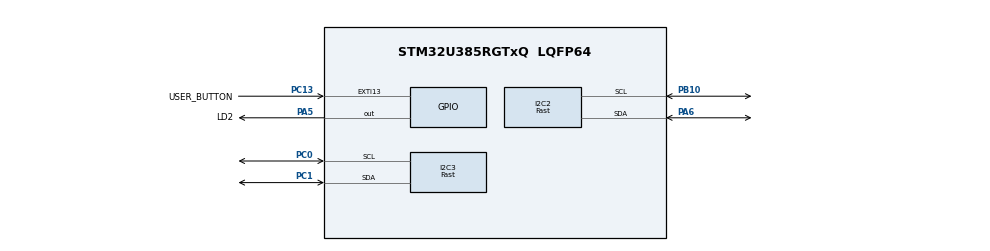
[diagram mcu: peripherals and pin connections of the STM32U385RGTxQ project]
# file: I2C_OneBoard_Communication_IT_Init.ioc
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CORTEX_M33_NS.userName=CORTEX_M33
I2C2.I2C_Fall_Time=10
I2C2.I2C_Rise_Time=100
I2C2.I2C_Speed_Mode=I2C_Fast
I2C2.OwnAddress=SLAVE_OWN_ADDRESS
I2C2.Timing=0x10901B4F
I2C3.I2C_Fall_Time=10
I2C3.I2C_Rise_Time=100
I2C3.I2C_Speed_Mode=I2C_Fast
I2C3.Timing=0x10901B4F
Mcu.Family=STM32U3
Mcu.Name=STM32U385RGTxQ
Mcu.Package=LQFP64
Mcu.UserConstants=SLAVE_OWN_ADDRESS,180
NVIC.EXTI13_IRQn=true\:0\:0\:false\:false\:true\:true\:true\:true
NVIC.PriorityGroup=NVIC_PRIORITYGROUP_4
PA5.GPIO_Label=LD2
PA5.Signal=GPIO_Output
PA6.GPIO_Pu=GPIO_PULLUP
PA6.GPIO_Speed=GPIO_SPEED_FREQ_HIGH
PA6.Mode=I2C
PA6.Signal=I2C2_SDA
PB10.GPIO_Pu=GPIO_PULLUP
PB10.GPIO_Speed=GPIO_SPEED_FREQ_HIGH
PB10.Mode=I2C
PB10.Signal=I2C2_SCL
PC0.GPIO_Pu=GPIO_PULLUP
PC0.GPIO_Speed=GPIO_SPEED_FREQ_HIGH
PC0.Mode=I2C
PC0.Signal=I2C3_SCL
PC1.GPIO_Pu=GPIO_PULLUP
PC1.GPIO_Speed=GPIO_SPEED_FREQ_HIGH
PC1.Mode=I2C
PC1.Signal=I2C3_SDA
PC13.GPIO_Label=USER_BUTTON
PC13.GPIO_PuPd=GPIO_PULLDOWN
PC13.Signal=GPXTI13
ProjectManager.HeapSize=0x200
ProjectManager.StackSize=0x400
ProjectManager.TargetToolchain=EWARM V9.20
RCC.ADCFreq_Value=96000000
RCC.AHBFreq_Value=96000000
RCC.APB1Freq_Value=96000000
RCC.APB1TimFreq_Value=96000000
RCC.APB2Freq_Value=96000000
RCC.APB2TimFreq_Value=96000000
RCC.APB3Freq_Value=96000000
RCC.CortexFreq_Value=12000000
RCC.HCLKFreq_Value=96000000
RCC.HSE_VALUE=16000000
RCC.HSI48_VALUE=48000000
RCC.HSI_VALUE=16000000
RCC.LSE_VALUE=32768
RCC.LSIDIV_VALUE=32000
RCC.MSISDIV=RCC_MSI_DIV1
RCC.SYSCLKFreq_VALUE=96000000
RCC.USBFreq_Value=96000000
VP_ICACHE_VS_ICACHE.Mode=DirectMappedCache
VP_PWR_VS_DBSignals.Mode=DisableDeadBatterySignals
VP_PWR_VS_LPOM.Mode=PowerOptimisation
VP_PWR_VS_SECSignals.Mode=Security/Privilege
board=custom

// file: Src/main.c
/* USER CODE BEGIN Header */
/**
  ******************************************************************************
  * @file    Examples_LL/I2C/I2C_OneBoard_Communication_IT_Init/Src/main.c
  * @author  MCD Application Team
  * @brief   This example describes how to send/receive bytes over I2C IP using
  *          the STM32U3xx I2C LL API.
  *          Peripheral initialization done using LL initialization function.
  ******************************************************************************
  * @attention
  *
  * Copyright (c) 2024 STMicroelectronics.
  * All rights reserved.
  *
  * This software is licensed under terms that can be found in the LICENSE file
  * in the root directory of this software component.
  * If no LICENSE file comes with this software, it is provided AS-IS.
  *
  ******************************************************************************
  */
/* USER CODE END Header */
#include "main.h"

/* USER CODE BEGIN PTD */
LL_I2C_InitTypeDef i2c_initstruct;
/* USER CODE END PTD */

/* USER CODE BEGIN PD */
/**
  * @brief I2C devices settings
  */

/**
  * @brief Define related to SlaveTransmit process
  */
#define SLAVE_BYTE_TO_SEND       (uint8_t)0xA5

/* USER CODE END PD */

/* USER CODE BEGIN PV */
__IO uint8_t ubButtonPress       = 0;

/**
  * @brief Variables related to MasterReceive process
  */
uint8_t      aReceiveBuffer[0xF] = {0};
__IO uint8_t ubReceiveIndex      = 0;

/* USER CODE END PV */

void SystemClock_Config(void);
static void MX_GPIO_Init(void);
static void MX_I2C3_Init(void);
static void MX_ICACHE_Init(void);
static void MX_I2C2_Init(void);
/* USER CODE BEGIN PFP */
void     LED_On(void);
void     LED_Off(void);
void     LED_Blinking(uint32_t Period);
void     WaitForUserButtonPress(void);
void     Handle_I2C_Master(void);

/* USER CODE END PFP */

int main(void)
{

  /* MCU Configuration--------------------------------------------------------*/

  /* Reset of all peripherals, Initializes the Flash interface and the Systick. */

  /* System interrupt init*/
  NVIC_SetPriorityGrouping(NVIC_PRIORITYGROUP_4);

  /* SysTick_IRQn interrupt configuration */
  NVIC_SetPriority(SysTick_IRQn, NVIC_EncodePriority(NVIC_GetPriorityGrouping(),15, 0));

  /* Configure the system clock */
  SystemClock_Config();

  /* Initialize all configured peripherals */
  MX_GPIO_Init();
  MX_I2C3_Init();
  MX_ICACHE_Init();
  MX_I2C2_Init();
  /* USER CODE BEGIN 2 */
  /* Set LD2 Off */
  LED_Off();

  /* Wait for User push-button press to start transfer */
  WaitForUserButtonPress();

  /* Handle I2C3 events (Master) */
  Handle_I2C_Master();
  /* USER CODE END 2 */

  /* Infinite loop */
  while (1)
  {

  }
}

void SystemClock_Config(void)
{
  /** Enable Epod Booster
  */
  LL_AHB1_GRP2_EnableClock(LL_AHB1_GRP2_PERIPH_PWR);
  LL_RCC_SetEPODBoosterClkSource(LL_RCC_EPODBOOSTCLKSRCE_MSIS);
  LL_RCC_SetEPODBoosterClkPrescaler(LL_RCC_EPODBOOSTCLKPRESCAL_1);
  LL_PWR_EnableEPODBooster();
  while(LL_PWR_IsActiveFlag_BOOST() != 1U)
  {
  }

  /** Configure the main internal regulator output voltage
  */
  LL_PWR_SetRegulVoltageScaling(LL_PWR_REGU_VOLTAGE_SCALE1);
  while(LL_PWR_GetRegulCurrentVOS() != LL_PWR_REGU_VOLTAGE_SCALE1)
  {
  }

  /** Set Flash latency before switching to MSIS
  */
  LL_FLASH_SetLatency(LL_FLASH_LATENCY_2);
  while(LL_FLASH_GetLatency() != LL_FLASH_LATENCY_2)
  {
  }

  /** Activate MSIS as source
  */
  LL_RCC_MSIS_SetClockSource(LL_RCC_MSIS_CLOCK_SOURCE_RC0);
  LL_RCC_MSIS_SetClockDivision(LL_RCC_MSIS_CLOCK_SOURCE_RC_DIV_1);
  LL_RCC_MSI_SetMSIxClockRange();
  LL_RCC_SetSysClkSource(LL_RCC_SYS_CLKSOURCE_MSIS);

  /** Wait till System clock is ready
  */
  while(LL_RCC_GetSysClkSource() != LL_RCC_SYS_CLKSOURCE_MSIS)
  {
  }

  LL_RCC_SetAHBPrescaler(LL_RCC_HCLK_SYSCLK_DIV_1);
  LL_RCC_SetAPB1Prescaler(LL_RCC_APB1_HCLK_DIV_1);
  LL_RCC_SetAPB2Prescaler(LL_RCC_APB2_HCLK_DIV_1);
  LL_RCC_SetAPB3Prescaler(LL_RCC_APB3_HCLK_DIV_1);

  LL_Init1msTick(96000000);

  LL_SetSystemCoreClock(96000000);
}

static void MX_I2C2_Init(void)
{

  LL_I2C_InitTypeDef I2C_InitStruct = {0};

  LL_GPIO_InitTypeDef GPIO_InitStruct = {0};

  LL_RCC_SetI2CClockSource(LL_RCC_I2C2_CLKSOURCE_PCLK1);

  LL_AHB2_GRP1_EnableClock(LL_AHB2_GRP1_PERIPH_GPIOA);
  LL_AHB2_GRP1_EnableClock(LL_AHB2_GRP1_PERIPH_GPIOB);
  /**I2C2 GPIO Configuration
  PA6   ------> I2C2_SDA
  PB10   ------> I2C2_SCL
  */
  GPIO_InitStruct.Pin = LL_GPIO_PIN_6;
  GPIO_InitStruct.Mode = LL_GPIO_MODE_ALTERNATE;
  GPIO_InitStruct.Speed = LL_GPIO_SPEED_FREQ_HIGH;
  GPIO_InitStruct.OutputType = LL_GPIO_OUTPUT_OPENDRAIN;
  GPIO_InitStruct.Pull = LL_GPIO_PULL_UP;
  GPIO_InitStruct.Alternate = LL_GPIO_AF_4;
  LL_GPIO_Init(GPIOA, &GPIO_InitStruct);

  GPIO_InitStruct.Pin = LL_GPIO_PIN_10;
  GPIO_InitStruct.Mode = LL_GPIO_MODE_ALTERNATE;
  GPIO_InitStruct.Speed = LL_GPIO_SPEED_FREQ_HIGH;
  GPIO_InitStruct.OutputType = LL_GPIO_OUTPUT_OPENDRAIN;
  GPIO_InitStruct.Pull = LL_GPIO_PULL_UP;
  GPIO_InitStruct.Alternate = LL_GPIO_AF_4;
  LL_GPIO_Init(GPIOB, &GPIO_InitStruct);

  /* Peripheral clock enable */
  LL_APB1_GRP1_EnableClock(LL_APB1_GRP1_PERIPH_I2C2);

  /* USER CODE BEGIN I2C2_Init 1 */
  /* Configure Event IT:
   *  - Set priority for I2C2_EV_IRQn
   *  - Enable I2C2_EV_IRQn
   */
  NVIC_SetPriority(I2C2_EV_IRQn, 0);
  NVIC_EnableIRQ(I2C2_EV_IRQn);

  /* Configure Error IT:
   *  - Set priority for I2C2_ER_IRQn
   *  - Enable I2C2_ER_IRQn
   */
  NVIC_SetPriority(I2C2_ER_IRQn, 0);
  NVIC_EnableIRQ(I2C2_ER_IRQn);
  /* Reset I2C2 data registers */
  if (LL_I2C_DeInit(I2C2) != SUCCESS)
  {
    /* Initialization Error */
    LED_Blinking(LED_BLINK_ERROR);
  }
  /* USER CODE END I2C2_Init 1 */

  /** I2C Initialization
  */
  LL_I2C_EnableAutoEndMode(I2C2);
  LL_I2C_DisableOwnAddress2(I2C2);
  LL_I2C_DisableGeneralCall(I2C2);
  LL_I2C_EnableClockStretching(I2C2);
  I2C_InitStruct.PeripheralMode = LL_I2C_MODE_I2C;
  I2C_InitStruct.Timing = 0x10901B4F;
  I2C_InitStruct.AnalogFilter = LL_I2C_ANALOGFILTER_ENABLE;
  I2C_InitStruct.DigitalFilter = 0;
  I2C_InitStruct.OwnAddress1 = SLAVE_OWN_ADDRESS;
  I2C_InitStruct.TypeAcknowledge = LL_I2C_ACK;
  I2C_InitStruct.OwnAddrSize = LL_I2C_OWNADDRESS1_7BIT;
  LL_I2C_Init(I2C2, &I2C_InitStruct);
  LL_I2C_SetOwnAddress2(I2C2, 0, LL_I2C_OWNADDRESS2_NOMASK);
  /* USER CODE BEGIN I2C2_Init 2 */
  /* Initialize I2C instance according to parameters defined in initialization structure. */
  if (LL_I2C_Init(I2C2, &I2C_InitStruct) != SUCCESS)
  {
    /* Initialization Error */
    LED_Blinking(LED_BLINK_ERROR);
  }

  /* (5) Enable I2C2 address match/error interrupts:
   *  - Enable Address Match Interrupt
   *  - Enable Not acknowledge received interrupt
   *  - Enable Error interrupts
   *  - Enable Stop interrupt
   */
  LL_I2C_EnableIT_ADDR(I2C2);
  LL_I2C_EnableIT_NACK(I2C2);
  LL_I2C_EnableIT_ERR(I2C2);
  LL_I2C_EnableIT_STOP(I2C2);
  /* USER CODE END I2C2_Init 2 */

}

static void MX_I2C3_Init(void)
{

  LL_I2C_InitTypeDef I2C_InitStruct = {0};

  LL_GPIO_InitTypeDef GPIO_InitStruct = {0};

  LL_RCC_SetI2CClockSource(LL_RCC_I2C3_CLKSOURCE_PCLK3);

  LL_AHB2_GRP1_EnableClock(LL_AHB2_GRP1_PERIPH_GPIOC);
  /**I2C3 GPIO Configuration
  PC0   ------> I2C3_SCL
  PC1   ------> I2C3_SDA
  */
  GPIO_InitStruct.Pin = LL_GPIO_PIN_0|LL_GPIO_PIN_1;
  GPIO_InitStruct.Mode = LL_GPIO_MODE_ALTERNATE;
  GPIO_InitStruct.Speed = LL_GPIO_SPEED_FREQ_HIGH;
  GPIO_InitStruct.OutputType = LL_GPIO_OUTPUT_OPENDRAIN;
  GPIO_InitStruct.Pull = LL_GPIO_PULL_UP;
  GPIO_InitStruct.Alternate = LL_GPIO_AF_4;
  LL_GPIO_Init(GPIOC, &GPIO_InitStruct);

  /* Peripheral clock enable */
  LL_APB3_GRP1_EnableClock(LL_APB3_GRP1_PERIPH_I2C3);

  /* USER CODE BEGIN I2C3_Init 1 */
  /* Configure Event IT:
   *  - Set priority for I2C3_EV_IRQn
   *  - Enable I2C3_EV_IRQn
   */
  NVIC_SetPriority(I2C3_EV_IRQn, 0);
  NVIC_EnableIRQ(I2C3_EV_IRQn);

  /* Configure Error IT:
   *  - Set priority for I2C3_ER_IRQn
   *  - Enable I2C3_ER_IRQn
   */
  NVIC_SetPriority(I2C3_ER_IRQn, 0);
  NVIC_EnableIRQ(I2C3_ER_IRQn);
  /* Reset I2C3 data registers */
  if (LL_I2C_DeInit(I2C3) != SUCCESS)
  {
    /* Initialization Error */
    LED_Blinking(LED_BLINK_ERROR);
  }
  /* USER CODE END I2C3_Init 1 */

  /** I2C Initialization
  */
  LL_I2C_EnableAutoEndMode(I2C3);
  LL_I2C_DisableOwnAddress2(I2C3);
  LL_I2C_DisableGeneralCall(I2C3);
  LL_I2C_EnableClockStretching(I2C3);
  I2C_InitStruct.PeripheralMode = LL_I2C_MODE_I2C;
  I2C_InitStruct.Timing = 0x10901B4F;
  I2C_InitStruct.AnalogFilter = LL_I2C_ANALOGFILTER_ENABLE;
  I2C_InitStruct.DigitalFilter = 0;
  I2C_InitStruct.OwnAddress1 = 0;
  I2C_InitStruct.TypeAcknowledge = LL_I2C_ACK;
  I2C_InitStruct.OwnAddrSize = LL_I2C_OWNADDRESS1_7BIT;
  LL_I2C_Init(I2C3, &I2C_InitStruct);
  LL_I2C_SetOwnAddress2(I2C3, 0, LL_I2C_OWNADDRESS2_NOMASK);
  /* USER CODE BEGIN I2C3_Init 2 */
  /* Initialize I2C instance according to parameters defined in initialization structure. */
  if (LL_I2C_Init(I2C3, &I2C_InitStruct) != SUCCESS)
  {
    /* Initialization Error */
    LED_Blinking(LED_BLINK_ERROR);
  }

  /* (5) Enable I2C3 transfer complete/error interrupts:
   *  - Enable Receive Interrupt
   *  - Enable Not acknowledge received interrupt
   *  - Enable Error interrupts
   *  - Enable Stop interrupt
   */
  LL_I2C_EnableIT_RX(I2C3);
  LL_I2C_EnableIT_NACK(I2C3);
  LL_I2C_EnableIT_ERR(I2C3);
  LL_I2C_EnableIT_STOP(I2C3);
  /* USER CODE END I2C3_Init 2 */

}

static void MX_ICACHE_Init(void)
{

  /* USER CODE BEGIN ICACHE_Init 0 */
//
  /* USER CODE END ICACHE_Init 0 */

  /* USER CODE BEGIN ICACHE_Init 1 */
//
  /* USER CODE END ICACHE_Init 1 */

  /** Enable instruction cache in 1-way (direct mapped cache)
  */
  LL_ICACHE_SetMode(LL_ICACHE_1WAY);
  LL_ICACHE_Enable();
  /* USER CODE BEGIN ICACHE_Init 2 */
//
  /* USER CODE END ICACHE_Init 2 */

}

static void MX_GPIO_Init(void)
{
  LL_EXTI_InitTypeDef EXTI_InitStruct = {0};
  LL_GPIO_InitTypeDef GPIO_InitStruct = {0};

  /* GPIO Ports Clock Enable */
  LL_AHB2_GRP1_EnableClock(LL_AHB2_GRP1_PERIPH_GPIOC);
  LL_AHB2_GRP1_EnableClock(LL_AHB2_GRP1_PERIPH_GPIOA);
  LL_AHB2_GRP1_EnableClock(LL_AHB2_GRP1_PERIPH_GPIOB);

  /**/
  LL_GPIO_ResetOutputPin(LD2_GPIO_Port, LD2_Pin);

  /**/
  LL_EXTI_SetEXTISource(LL_EXTI_CONFIG_PORTC, LL_EXTI_CONFIG_LINE13);

  /**/
  EXTI_InitStruct.Line_0_31 = LL_EXTI_LINE_13;
  EXTI_InitStruct.LineCommand = ENABLE;
  EXTI_InitStruct.Mode = LL_EXTI_MODE_IT;
  EXTI_InitStruct.Trigger = LL_EXTI_TRIGGER_RISING;
  LL_EXTI_Init(&EXTI_InitStruct);

  /**/
  LL_GPIO_SetPinPull(USER_BUTTON_GPIO_Port, USER_BUTTON_Pin, LL_GPIO_PULL_DOWN);

  /**/
  LL_GPIO_SetPinMode(USER_BUTTON_GPIO_Port, USER_BUTTON_Pin, LL_GPIO_MODE_INPUT);

  /**/
  GPIO_InitStruct.Pin = LD2_Pin;
  GPIO_InitStruct.Mode = LL_GPIO_MODE_OUTPUT;
  GPIO_InitStruct.Speed = LL_GPIO_SPEED_FREQ_LOW;
  GPIO_InitStruct.OutputType = LL_GPIO_OUTPUT_PUSHPULL;
  GPIO_InitStruct.Pull = LL_GPIO_PULL_NO;
  LL_GPIO_Init(LD2_GPIO_Port, &GPIO_InitStruct);

  /* EXTI interrupt init*/
  NVIC_SetPriority(EXTI13_IRQn, NVIC_EncodePriority(NVIC_GetPriorityGrouping(),0, 0));
  NVIC_EnableIRQ(EXTI13_IRQn);

}

/* USER CODE BEGIN 4 */

/**
  * @brief  Turn-on LD2.
  * @param  None
  * @retval None
  */
void LED_On(void)
{
  /* Turn LD2 on */
  LL_GPIO_SetOutputPin(LD2_GPIO_Port, LD2_Pin);
}

/**
  * @brief  Turn-off LD2.
  * @param  None
  * @retval None
  */
void LED_Off(void)
{
  /* Turn LD2 off */
  LL_GPIO_ResetOutputPin(LD2_GPIO_Port, LD2_Pin);
}

/**
  * @brief  Set LD2 to Blinking mode for an infinite loop (toggle period based on value provided as input parameter).
  * @param  Period : Period of time (in ms) between each toggling of LED
  *   This parameter can be user defined values. Pre-defined values used in that example are :
  *     @arg LED_BLINK_FAST : Fast Blinking
  *     @arg LED_BLINK_SLOW : Slow Blinking
  *     @arg LED_BLINK_ERROR : Error specific Blinking
  * @retval None
  */
void LED_Blinking(uint32_t Period)
{
  /* Turn LD2 on */
  LL_GPIO_SetOutputPin(LD2_GPIO_Port, LD2_Pin);

  /* Toggle IO in an infinite loop */
  while (1)
  {
    LL_GPIO_TogglePin(LD2_GPIO_Port, LD2_Pin);
    LL_mDelay(Period);
  }
}

/**
  * @brief  Wait for User push-button press to start transfer.
  * @param  None
  * @retval None
  */
/*  */
void WaitForUserButtonPress(void)
{
  while (ubButtonPress == 0)
  {
    LL_GPIO_TogglePin(LD2_GPIO_Port, LD2_Pin);
    LL_mDelay(LED_BLINK_FAST);
  }
  /* Turn LD2 off */
  LL_GPIO_ResetOutputPin(LD2_GPIO_Port, LD2_Pin);
}

/**
  * @brief  This Function handle Master events to perform a reception process
  * @note  This function is composed in one step :
  *        -1- Initiate a Start condition to the Slave device.
  * @param  None
  * @retval None
  */
void Handle_I2C_Master(void)
{
  /* (1) Initiate a Start condition to the Slave device ***********************/

  /* Master Generate Start condition for a read request:
   *  - to the Slave with a 7-Bit SLAVE_OWN_ADDRESS
   *  - with a auto stop condition generation when receive 1 byte
   */
  LL_I2C_HandleTransfer(I2C3, SLAVE_OWN_ADDRESS, LL_I2C_ADDRSLAVE_7BIT, 1, LL_I2C_MODE_AUTOEND, LL_I2C_GENERATE_START_READ);
}

/******************************************************************************/
/*   IRQ HANDLER TREATMENT Functions                                          */
/******************************************************************************/
/**
  * @brief  Function to manage User push-button
  * @param  None
  * @retval None
  */
void UserButton_Callback(void)
{
  /* Update User push-button variable : to be checked in waiting loop in main program */
  ubButtonPress = 1;
}

/**
  * @brief  Function called from I2C IRQ Handler when TXIS flag is set
  *         Function is in charge of transmit a byte on I2C lines.
  * @param  None
  * @retval None
  */
void Slave_Ready_To_Transmit_Callback(void)
{
  /* Send the Byte requested by the Master */
  LL_I2C_TransmitData8(I2C2, SLAVE_BYTE_TO_SEND);
}

/**
  * @brief  Function called from I2C IRQ Handler when RXNE flag is set
  *         Function is in charge of reading byte received on I2C lines.
  * @param  None
  * @retval None
  */
void Master_Reception_Callback(void)
{
  /* Read character in Receive Data register.
  RXNE flag is cleared by reading data in RXDR register */
  aReceiveBuffer[ubReceiveIndex++] = LL_I2C_ReceiveData8(I2C3);
}

/**
  * @brief  Function called from I2C IRQ Handler when STOP flag is set
  *         Function is in charge of checking data received,
  *         LD2 is On if data are correct.
  * @param  None
  * @retval None
  */
void Master_Complete_Callback(void)
{
  /* Read Received character.
  RXNE flag is cleared by reading of RXDR register */
  if (aReceiveBuffer[ubReceiveIndex - 1] == SLAVE_BYTE_TO_SEND)
  {
    /* Turn LD2 On:
     * - Expected byte has been received
     * - Master Rx sequence completed successfully
     */
    LED_On();
  }
  else
  {
    /* Call Error function */
    Error_Callback();
  }
}

/**
  * @brief  Function called in case of error detected in I2C IT Handler
  * @param  None
  * @retval None
  */
void Error_Callback(void)
{
  /* Disable I2C2_EV_IRQn and I2C3_EV_IRQn */
  NVIC_DisableIRQ(I2C2_EV_IRQn);
  NVIC_DisableIRQ(I2C3_EV_IRQn);

  /* Disable I2C2_ER_IRQn and I2C3_ER_IRQn */
  NVIC_DisableIRQ(I2C2_ER_IRQn);
  NVIC_DisableIRQ(I2C3_ER_IRQn);

  /* Unexpected event : Set LD2 to Blinking mode to indicate error occurs */
  LED_Blinking(LED_BLINK_ERROR);
}

/* USER CODE END 4 */

void Error_Handler(void)
{
  /* USER CODE BEGIN Error_Handler_Debug */
  /* User can add his own implementation to report the HAL error return state */
  /* Infinite Loop */
  while(1)
  {
  }
  /* USER CODE END Error_Handler_Debug */
}

#ifdef  USE_FULL_ASSERT
/**
  * @brief  Reports the name of the source file and the source line number
  *         where the assert_param error has occurred.
  * @param  file: pointer to the source file name
  * @param  line: assert_param error line source number
  * @retval None
  */
void assert_failed(uint8_t *file, uint32_t line)
{
  /* USER CODE BEGIN 6 */
  /* User can add his own implementation to report the file name and line number,
     text: printf("Wrong parameters value: file %s on line %d\r\n", file, line) */

  /* Infinite Loop */
  while(1)
  {
  }
  /* USER CODE END 6 */
}
#endif /* USE_FULL_ASSERT */
